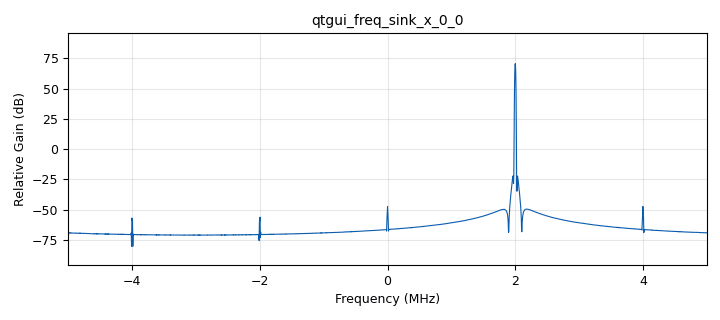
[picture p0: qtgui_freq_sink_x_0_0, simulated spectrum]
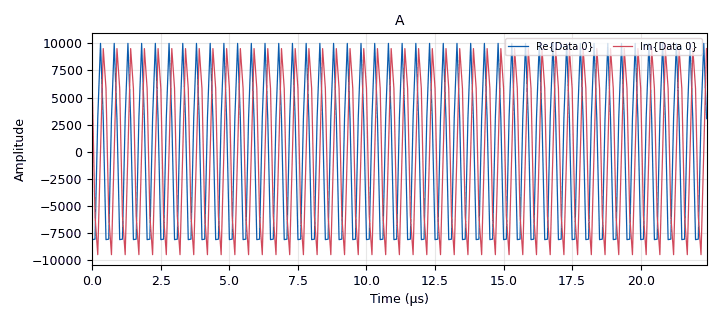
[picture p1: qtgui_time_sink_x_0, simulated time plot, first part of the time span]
options:
  parameters:
    generate_options: qt_gui
    id: simple_tx
    output_language: python
    title: Simple Tx Test
  states: {}

blocks:
- name: ampl
  id: variable
  parameters:
    value: ampl_sel
  states: {}
- name: ampl_sel
  id: variable_qtgui_range
  parameters:
    label: Ample Sel
    start: '0'
    step: 1e2
    stop: 32e3
    value: 10e3
  states: {}
- name: gain
  id: variable
  parameters:
    value: gain_sel
  states: {}
- name: gain_sel
  id: variable_qtgui_range
  parameters:
    label: Gain Sel
    start: '0'
    step: '1'
    stop: '100'
    value: '0'
  states: {}
- name: max_wave_freq
  id: variable
  parameters:
    value: samp_rate/2
  states: {}
- name: samp_rate
  id: variable
  parameters:
    value: 10e6
  states: {}
- name: tx_freq
  id: variable
  parameters:
    value: tx_freq_sel
  states: {}
- name: tx_freq_sel
  id: variable_qtgui_range
  parameters:
    label: Tx Freq Sel
    start: '0'
    step: 1e6
    stop: 20e9
    value: '0'
  states: {}
- name: wave_freq
  id: variable
  parameters:
    value: wave_freq_sel
  states: {}
- name: wave_freq_sel
  id: variable_qtgui_range
  parameters:
    label: Wave Freq Sel
    start: '0'
    step: 1e3
    stop: max_wave_freq
    value: max_wave_freq/2.5
  states: {}
- name: analog_sig_source_x_0
  id: analog_sig_source_x
  parameters:
    amp: ampl_sel
    freq: wave_freq
    offset: '0'
    phase: '0'
    samp_rate: 'samp_rate '
    type: complex
    waveform: analog.GR_SIN_WAVE
  states: {}
- name: blocks_complex_to_interleaved_short_0
  id: blocks_complex_to_interleaved_short
  parameters:
    scale_factor: '1.0'
    vector_output: 'True'
  states: {}
- name: qtgui_freq_sink_x_0_0
  id: qtgui_freq_sink_x
  parameters:
    bw: samp_rate
    fc: tx_freq
    fftsize: '2048'
    grid: 'True'
    type: complex
    ymax: '96'
    ymin: '-96'
  states: {}
- name: qtgui_time_sink_x_0
  id: qtgui_time_sink_x
  parameters:
    autoscale: 'True'
    label1: ''
    label2: ''
    name: '"A"'
    size: '2048'
    srate: samp_rate
    type: complex
    ymax: '20000'
    ymin: '-20000'
  states: {}
- name: uhd_usrp_sink_0_0_3_0
  id: uhd_usrp_sink
  parameters:
    ant0: ''
    ant1: ''
    ant2: ''
    ant3: ''
    center_freq0: tx_freq
    center_freq1: tx_freq
    center_freq2: tx_freq
    center_freq3: tx_freq
    clock_rate: 120e6
    clock_source0: internal
    dev_addr: ''
    dev_args: '"crimson"'
    gain0: gain
    gain1: gain
    gain2: gain
    gain3: gain
    len_tag_name: ''
    nchan: '4'
    otw: sc16
    samp_rate: samp_rate
    stream_args: sc16
    stream_chans: '[0,1,2,3]'
    sync: sync
    type: sc16
  states: {}

connections:
- [analog_sig_source_x_0, '0', blocks_complex_to_interleaved_short_0, '0']
- [analog_sig_source_x_0, '0', qtgui_freq_sink_x_0_0, '0']
- [analog_sig_source_x_0, '0', qtgui_time_sink_x_0, '0']
- [blocks_complex_to_interleaved_short_0, '0', uhd_usrp_sink_0_0_3_0, '0']
- [blocks_complex_to_interleaved_short_0, '0', uhd_usrp_sink_0_0_3_0, '1']
- [blocks_complex_to_interleaved_short_0, '0', uhd_usrp_sink_0_0_3_0, '2']
- [blocks_complex_to_interleaved_short_0, '0', uhd_usrp_sink_0_0_3_0, '3']

metadata:
  file_format: 1
